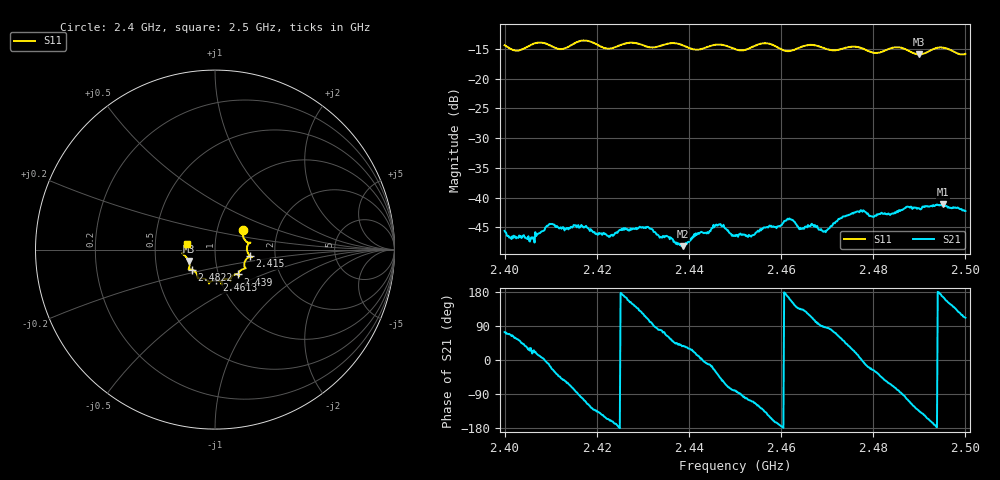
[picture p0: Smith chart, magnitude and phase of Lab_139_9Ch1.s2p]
# Hz S RI R 50
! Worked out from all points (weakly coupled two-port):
!   601 points, 2.4 GHz to 2.5 GHz, reference 50 ohm
!   highest |S21| = -41.16 dB at 2.4952 GHz (marker M1); lowest = -48.2 dB at 2.4387 GHz (marker M2)
!   lowest |S11| = -15.9 dB at 2.49 GHz (marker M3), VSWR 1.38, Z = 36.9 - j4.83 ohm
!   |S11| at or under -10 dB: start of sweep to end of sweep
!   S12 and S22 are empty: the file has one direction only
!   S11 on the Smith chart (normalised r, x): 2.4 GHz: 1.33, +0.31; 2.415 GHz: 1.48, -0.11; 2.439 GHz: 1.24, -0.36; 2.4613 GHz: 0.96, -0.34; 2.4822 GHz: 0.76, -0.17; 2.5 GHz: 0.73, +0.05
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2.4e9  0.1558 0.1108  0.00148 0.00502  0 0  0 0
2.406e9  0.1909 0.0365  0.00431 0.00132  0 0  0 0
2.409833e9  0.188 0.0338  0.00577 -0.00169  0 0  0 0
2.415e9  0.1937 -0.035  0.00135 -0.00572  0 0  0 0
2.416667e9  0.2048 -0.0422  -0.000876 -0.00581  0 0  0 0
2.422667e9  0.1655 -0.0687  -0.00431 -0.00178  0 0  0 0
2.430833e9  0.1491 -0.1118  -0.00207 0.00526  0 0  0 0
2.433333e9  0.132 -0.1322  0.000833 0.00476  0 0  0 0
2.438667e9  0.1303 -0.1397  0.0031 0.00236  0 0  0 0
2.439e9  0.1283 -0.1385  0.00319 0.00229  0 0  0 0
2.446333e9  0.0859 -0.174  0.00454 -0.00372  0 0  0 0
2.45e9  0.0685 -0.1638  0.000726 -0.00476  0 0  0 0
2.456667e9  0.0392 -0.1953  -0.00415 -0.00376  0 0  0 0
2.461333e9  0.00702 -0.1706  -0.00644 0.00128  0 0  0 0
2.466667e9  -0.0334 -0.1897  -0.00226 0.00557  0 0  0 0
2.4695e9  -0.0392 -0.1757  0.000326 0.0052  0 0  0 0
2.476333e9  -0.0944 -0.1599  0.00726 0.00225  0 0  0 0
2.482167e9  -0.1281 -0.1119  0.00479 -0.00549  0 0  0 0
2.483333e9  -0.1395 -0.1103  0.00361 -0.00639  0 0  0 0
2.49e9  -0.1468 -0.0638  -0.00575 -0.0057  0 0  0 0
2.495167e9  -0.1815 -0.0206  -0.00849 0.00211  0 0  0 0
2.5e9  -0.1581 0.0338  -0.00284 0.00716  0 0  0 0
